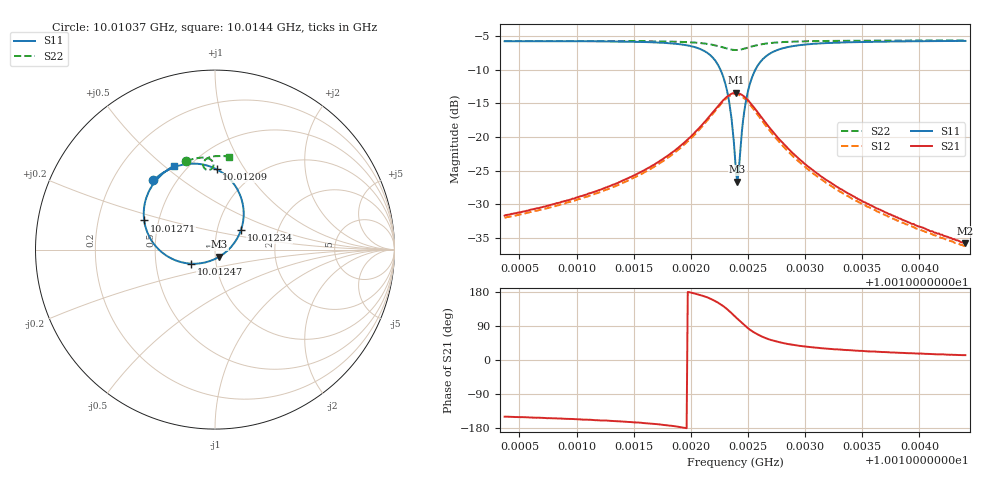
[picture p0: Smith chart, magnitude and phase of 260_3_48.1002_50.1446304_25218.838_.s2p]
#  HZ  S  RI  R  50.00
! Rohde & Schwarz Vector Network Analyzer
! Rohde-Schwarz,ZNB20-2Port,1311601062101988,3.16
! Created: UTC 12/23/2023, 4:00:41 AM
! freq[Hz]  re:S11  im:S11  re:S21  im:S21  re:S12  im:S12  re:S22  im:S22
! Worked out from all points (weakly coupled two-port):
!   401 points, 10.01037 GHz to 10.0144 GHz, reference 50 ohm
!   highest |S21| = -13.42 dB at 10.0124 GHz (marker M1); lowest = -35.8 dB at 10.0144 GHz (marker M2)
!   lowest |S11| = -26.7 dB at 10.01241 GHz (marker M3), VSWR 1.10, Z = 52.4 - j4.11 ohm
!   |S11| at or under -10 dB: 10.01226 GHz to 10.01256 GHz (304.1 kHz wide, 0.00304 % of centre)
!   |S22| runs from -7.0 to -5.6 dB; largest |S21 - S12| = 0.01
!   S11 on the Smith chart (normalised r, x): 10.01037 GHz: 0.37, +0.39; 10.01209 GHz: 0.68, +0.76; 10.01234 GHz: 1.30, +0.29; 10.01247 GHz: 0.76, -0.12; 10.01271 GHz: 0.42, +0.16; 10.0144 GHz: 0.42, +0.54
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1.0010371e10  -0.3447 0.3856  -0.0224 -0.0131  -0.0208 -0.0138  -0.1589 0.4942
1.0011046e10  -0.2884 0.4287  -0.0334 -0.0141  -0.0313 -0.0153  -0.1141 0.5068
1.0011722e10  -0.1753 0.474  -0.0645 -0.0115  -0.0615 -0.0144  -0.0616 0.5124
1.0011933e10  -0.0954 0.4779  -0.0892 -0.00229  -0.0859 -0.00754  -0.0406 0.5093
1.0012095e10  0.00855 0.4476  -0.1201 0.0208  -0.1175 0.0131  -0.0219 0.4997
1.0012246e10  0.1391 0.305  -0.1496 0.0871  -0.1508 0.0771  -0.00846 0.4741
1.0012296e10  0.1598 0.205  -0.1463 0.1252  -0.1486 0.1164  -0.0107 0.461
1.0012336e10  0.1448 0.1092  -0.1296 0.1591  -0.1341 0.1506  -0.0178 0.4509
1.0012357e10  0.1229 0.0608  -0.1163 0.1748  -0.1208 0.1669  -0.0229 0.4471
1.0012387e10  0.07 -0.00544  -0.0895 0.1935  -0.0943 0.1863  -0.0327 0.4435
1.0012397e10  0.0483 -0.0233  -0.0797 0.1979  -0.085 0.1906  -0.0359 0.4431
1.0012407e10  0.0249 -0.0391  -0.0698 0.2011  -0.0748 0.1942  -0.0394 0.4434
1.0012427e10  -0.026 -0.063  -0.049 0.2045  -0.0538 0.198  -0.0462 0.4448
1.0012467e10  -0.1323 -0.0785  -0.00769 0.1998  -0.0128 0.1936  -0.0574 0.4515
1.0012508e10  -0.2256 -0.0576  0.0254 0.1832  0.0186 0.1776  -0.0639 0.4613
1.0012558e10  -0.3086 -0.00394  0.0505 0.1558  0.0442 0.1511  -0.0664 0.474
1.0012619e10  -0.3646 0.0692  0.0648 0.1243  0.058 0.1209  -0.0637 0.4867
1.0012709e10  -0.3943 0.1622  0.0683 0.0883  0.0619 0.0865  -0.0551 0.4996
1.0012861e10  -0.39 0.2625  0.0601 0.0535  0.055 0.0534  -0.0391 0.5109
1.0013062e10  -0.3628 0.3349  0.0477 0.0314  0.0438 0.032  -0.0196 0.5176
1.0013737e10  -0.2837 0.4293  0.0249 0.00922  0.0233 0.01  0.0331 0.5216
1.0014403e10  -0.2257 0.4682  0.0158 0.00357  0.0148 0.00418  0.079 0.5181
